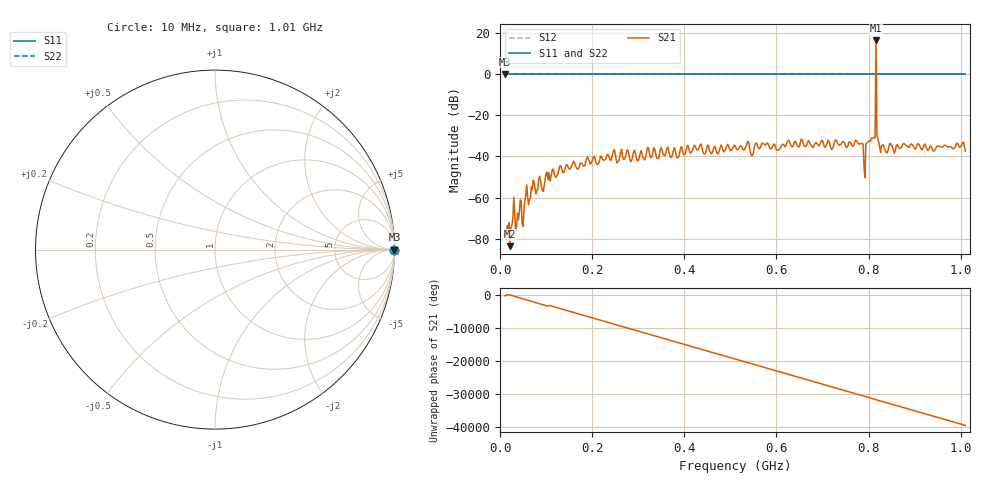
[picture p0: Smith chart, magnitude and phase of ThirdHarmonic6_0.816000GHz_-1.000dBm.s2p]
! 8/16/2025 3:09:16 AM
! C:\ANRITSUVNA\TEMP\TEMP.S2P
! CHANNEL.1
! TR.MEASUREMENT
! RAW.DATA
! RF.CORRECTION.OFF
! AVERAGING.OFF
! IF.BANDWIDTH: 5KHZ
! SWEEPTYPE:  FREQ.SWEEP(Linear)
! Reference Plane Port Info
! PORT:  PORT1  PORT2
! DISTANCE:  0  m  0  m
! TIME:  0  s  0  s
! PHASE.OFFSET:  0  deg.  0  deg.
! LOSS:  0  dB  0  dB
! REF.LOSS:  0  dB  0  dB
! REF.FREQ:  0  Hz  0  Hz
! Power Info
! POWER:  -20  dBm  -20  dBm
! EFF.POWER:  -20  dBm  -20  dBm
! SOURCE.ATTEN:  0  dB  0  dB
! TEST.ATTEN:  0  dB  0  dB
# GHZ S RI R 50.0
! FREQ.GHZ  S11RE  S11IM  S21RE  S21IM  S12RE  S12IM  S22RE  S22IM
!; PortSelection: Port_12
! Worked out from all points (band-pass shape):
!   501 points, 10 MHz to 1.01 GHz, reference 50 ohm
!   highest |S21| = 16.22 dB at 816 MHz (marker M1); lowest = -83.6 dB at 22 MHz (marker M2)
!   |S21| within 3 dB of the highest: 815.8731 MHz to 816.1293 MHz (256.2 kHz wide, 0.0314 % of centre)
!   lowest |S11| = 0.0 dB at 10 MHz (marker M3)
!   |S11| at or under -10 dB: nowhere
!   |S22| runs from 0.0 to 0.0 dB; largest |S21 - S12| = 5.5
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0.01  1 0  -0.000106 -5.72e-05  1 0  1 0
0.022  1 0  -4.16e-05 5.14e-05  1 0  1 0
0.028  1 0  -0.000245 -0.000216  1 0  1 0
0.052  1 0  7.8e-06 -0.000485  1 0  1 0
0.056  1 0  -0.00078 0.000859  1 0  1 0
0.072  1 0  -0.00263 0.000173  1 0  1 0
0.178  1 0  -0.00677 -0.00016  1 0  1 0
0.246  1 0  0.0114 -0.00761  1 0  1 0
0.344  1 0  0.00848 -0.00333  1 0  1 0
0.51  1 0  -0.00911 0.0157  1 0  1 0
0.546  1 0  -0.00347 0.00978  1 0  1 0
0.678  1 0  -0.0169 -0.00235  1 0  1 0
0.774  1 0  0.00261 -0.0236  1 0  1 0
0.792  1 0  0.00142 -0.00269  1 0  1 0
0.798  1 0  0.0168 0.0141  1 0  1 0
0.81  1 0  -0.000392 -0.0273  1 0  1 0
0.812  1 0  -0.028 -0.0035  1 0  1 0
0.816  1 0  6.472 0.014  1 0  1 0
0.82  1 0  -0.0273 -0.00408  1 0  1 0
0.822  1 0  -0.005 0.0209  1 0  1 0
0.844  1 0  0.0168 -0.00415  1 0  1 0
1.01  1 0  -0.00585 0.012  1 0  1 0
